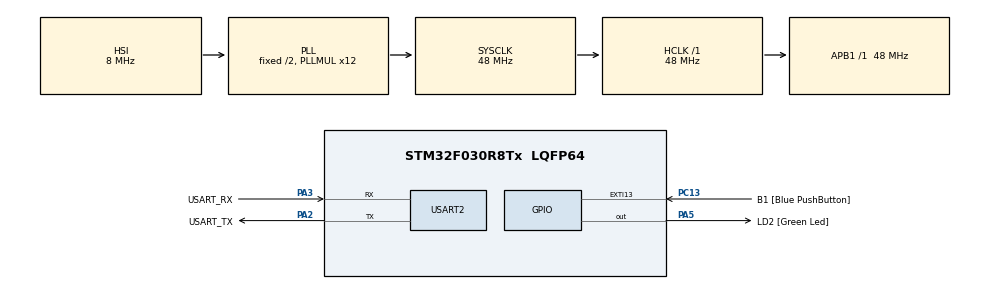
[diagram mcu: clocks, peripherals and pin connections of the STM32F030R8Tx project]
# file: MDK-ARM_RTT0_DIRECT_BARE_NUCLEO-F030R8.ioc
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Mcu.Family=STM32F0
Mcu.Name=STM32F030R8Tx
Mcu.Package=LQFP64
PA13.GPIO_Label=TMS
PA13.Mode=Serial_Wire
PA13.Signal=SYS_SWDIO
PA14.GPIO_Label=TCK
PA14.Mode=Serial_Wire
PA14.Signal=SYS_SWCLK
PA2.GPIO_Label=USART_TX
PA2.GPIO_Mode=GPIO_MODE_AF_PP
PA2.GPIO_PuPd=GPIO_NOPULL
PA2.GPIO_Speed=GPIO_SPEED_FREQ_LOW
PA2.Mode=Asynchronous
PA2.Signal=USART2_TX
PA3.GPIO_Label=USART_RX
PA3.GPIO_Mode=GPIO_MODE_AF_PP
PA3.GPIO_PuPd=GPIO_NOPULL
PA3.GPIO_Speed=GPIO_SPEED_FREQ_LOW
PA3.Mode=Asynchronous
PA3.Signal=USART2_RX
PA5.GPIO_Label=LD2 [Green Led]
PA5.GPIO_Mode=GPIO_MODE_OUTPUT_PP
PA5.GPIO_PuPd=GPIO_NOPULL
PA5.GPIO_Speed=GPIO_SPEED_FREQ_LOW
PA5.Signal=GPIO_Output
PC13.GPIO_Label=B1 [Blue PushButton]
PC13.GPIO_ModeDefaultEXTI=GPIO_MODE_IT_FALLING
PC13.Signal=GPXTI13
PC14-OSC32_IN.Mode=LSE-External-Oscillator
PC14-OSC32_IN.Signal=RCC_OSC32_IN
PC15-OSC32_OUT.Mode=LSE-External-Oscillator
PC15-OSC32_OUT.Signal=RCC_OSC32_OUT
PF0-OSC_IN.Mode=HSE-External-Clock-Source
PF0-OSC_IN.Signal=RCC_OSC_IN
PF1-OSC_OUT.Signal=RCC_OSC_OUT
ProjectManager.HeapSize=0x200
ProjectManager.StackSize=0x400
ProjectManager.TargetToolchain=MDK-ARM V5.27
RCC.AHBFreq_Value=48000000
RCC.APB1Freq_Value=48000000
RCC.APB1TimFreq_Value=48000000
RCC.HCLKFreq_Value=48000000
RCC.PLLMUL=RCC_PLL_MUL12
RCC.SYSCLKFreq_VALUE=48000000
RCC.SYSCLKSource=RCC_SYSCLKSOURCE_PLLCLK
USART2.VirtualMode-Asynchronous=VM_ASYNC
board=NUCLEO-F030R8

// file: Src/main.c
/* USER CODE BEGIN Header */
/**
  ******************************************************************************
  * @file           : main.c
  * @brief          : Main program body
  ******************************************************************************
  * @attention
  *
  * <h2><center>&copy; Copyright (c) 2020 STMicroelectronics.
  * All rights reserved.</center></h2>
  *
  * This software component is licensed by ST under BSD 3-Clause license,
  * the "License"; You may not use this file except in compliance with the
  * License. You may obtain a copy of the License at:
  *                        opensource.org/licenses/BSD-3-Clause
  *
  ******************************************************************************
  */
/* USER CODE END Header */

#include "main.h"

/* USER CODE BEGIN Includes */
#include "trice.h"
/* USER CODE END Includes */

UART_HandleTypeDef huart2;

void SystemClock_Config(void);
static void MX_GPIO_Init(void);
static void MX_USART2_UART_Init(void);

int main(void)
{

  /* MCU Configuration--------------------------------------------------------*/

  /* Reset of all peripherals, Initializes the Flash interface and the Systick. */
  HAL_Init();

  /* Configure the system clock */
  SystemClock_Config();

  /* Initialize all configured peripherals */
  MX_GPIO_Init();
  MX_USART2_UART_Init();

  /* Infinite loop */
  /* USER CODE BEGIN WHILE */
    SEGGER_RTT_GetAvailWriteSpace(0);
    TRICE_SYNC;
    TRICE16_1( Id( 2625), "TIM:timing      message, SysTick is %6d\n", SYSTICKVAL16 );
    TRICE0( Id(24882), "att:MDK-ARM_RTT0_DIRECT_BARE_NUCLEO-F030R8\n" );
    TRICE16_1( Id( 2625), "TIM:timing      message, SysTick is %6d\n", SYSTICKVAL16 );
    TRICE16_1( Id( 2625), "TIM:timing      message, SysTick is %6d\n", SYSTICKVAL16 );
    TRICE16_1( Id( 2625), "TIM:timing      message, SysTick is %6d\n", SYSTICKVAL16 );
    TRICE16_1( Id( 2625), "TIM:timing      message, SysTick is %6d\n", SYSTICKVAL16 );

    char* s = "Hi5!\n";
    SEGGER_RTT_Write(0, s, strlen(s));
  while (1)
  {
      //////////////////////////////////////////////////
      // demo trices
      //
      static uint32_t ms_1 = 0;
      uint32_t ms = HAL_GetTick();
      if( ms >= ms_1 + 1000 ){ // every sec
          static int index = 0;
          TRICE_SYNC;
          triceCheckSet(index++%20);
          TRICE32_1( Id(29200), "time:ms = %d\n", ms );
          //LL_GPIO_TogglePin(LD2_GPIO_Port, LD2_Pin);
          ms_1 = ms;
      }
      //
      //////////////////////////////////////////////////
    /* USER CODE END WHILE */

  }
}

void SystemClock_Config(void)
{
  RCC_OscInitTypeDef RCC_OscInitStruct = {0};
  RCC_ClkInitTypeDef RCC_ClkInitStruct = {0};

  /** Initializes the CPU, AHB and APB busses clocks
  */
  RCC_OscInitStruct.OscillatorType = RCC_OSCILLATORTYPE_HSI;
  RCC_OscInitStruct.HSIState = RCC_HSI_ON;
  RCC_OscInitStruct.HSICalibrationValue = RCC_HSICALIBRATION_DEFAULT;
  RCC_OscInitStruct.PLL.PLLState = RCC_PLL_ON;
  RCC_OscInitStruct.PLL.PLLSource = RCC_PLLSOURCE_HSI;
  RCC_OscInitStruct.PLL.PLLMUL = RCC_PLL_MUL12;
  RCC_OscInitStruct.PLL.PREDIV = RCC_PREDIV_DIV1;
  if (HAL_RCC_OscConfig(&RCC_OscInitStruct) != HAL_OK)
  {
    Error_Handler();
  }
  /** Initializes the CPU, AHB and APB busses clocks
  */
  RCC_ClkInitStruct.ClockType = RCC_CLOCKTYPE_HCLK|RCC_CLOCKTYPE_SYSCLK
                              |RCC_CLOCKTYPE_PCLK1;
  RCC_ClkInitStruct.SYSCLKSource = RCC_SYSCLKSOURCE_PLLCLK;
  RCC_ClkInitStruct.AHBCLKDivider = RCC_SYSCLK_DIV1;
  RCC_ClkInitStruct.APB1CLKDivider = RCC_HCLK_DIV1;

  if (HAL_RCC_ClockConfig(&RCC_ClkInitStruct, FLASH_LATENCY_1) != HAL_OK)
  {
    Error_Handler();
  }
}

static void MX_USART2_UART_Init(void)
{

  huart2.Instance = USART2;
  huart2.Init.BaudRate = 38400;
  huart2.Init.WordLength = UART_WORDLENGTH_8B;
  huart2.Init.StopBits = UART_STOPBITS_1;
  huart2.Init.Parity = UART_PARITY_NONE;
  huart2.Init.Mode = UART_MODE_TX_RX;
  huart2.Init.HwFlowCtl = UART_HWCONTROL_NONE;
  huart2.Init.OverSampling = UART_OVERSAMPLING_16;
  huart2.Init.OneBitSampling = UART_ONE_BIT_SAMPLE_DISABLE;
  huart2.AdvancedInit.AdvFeatureInit = UART_ADVFEATURE_NO_INIT;
  if (HAL_UART_Init(&huart2) != HAL_OK)
  {
    Error_Handler();
  }

}

static void MX_GPIO_Init(void)
{
  GPIO_InitTypeDef GPIO_InitStruct = {0};

  /* GPIO Ports Clock Enable */
  __HAL_RCC_GPIOC_CLK_ENABLE();
  __HAL_RCC_GPIOF_CLK_ENABLE();
  __HAL_RCC_GPIOA_CLK_ENABLE();

  /*Configure GPIO pin Output Level */
  HAL_GPIO_WritePin(LD2_GPIO_Port, LD2_Pin, GPIO_PIN_RESET);

  /*Configure GPIO pin : B1_Pin */
  GPIO_InitStruct.Pin = B1_Pin;
  GPIO_InitStruct.Mode = GPIO_MODE_IT_FALLING;
  GPIO_InitStruct.Pull = GPIO_NOPULL;
  HAL_GPIO_Init(B1_GPIO_Port, &GPIO_InitStruct);

  /*Configure GPIO pin : LD2_Pin */
  GPIO_InitStruct.Pin = LD2_Pin;
  GPIO_InitStruct.Mode = GPIO_MODE_OUTPUT_PP;
  GPIO_InitStruct.Pull = GPIO_NOPULL;
  GPIO_InitStruct.Speed = GPIO_SPEED_FREQ_LOW;
  HAL_GPIO_Init(LD2_GPIO_Port, &GPIO_InitStruct);

}

void Error_Handler(void)
{
}

/************************ (C) COPYRIGHT STMicroelectronics *****END OF FILE****/
